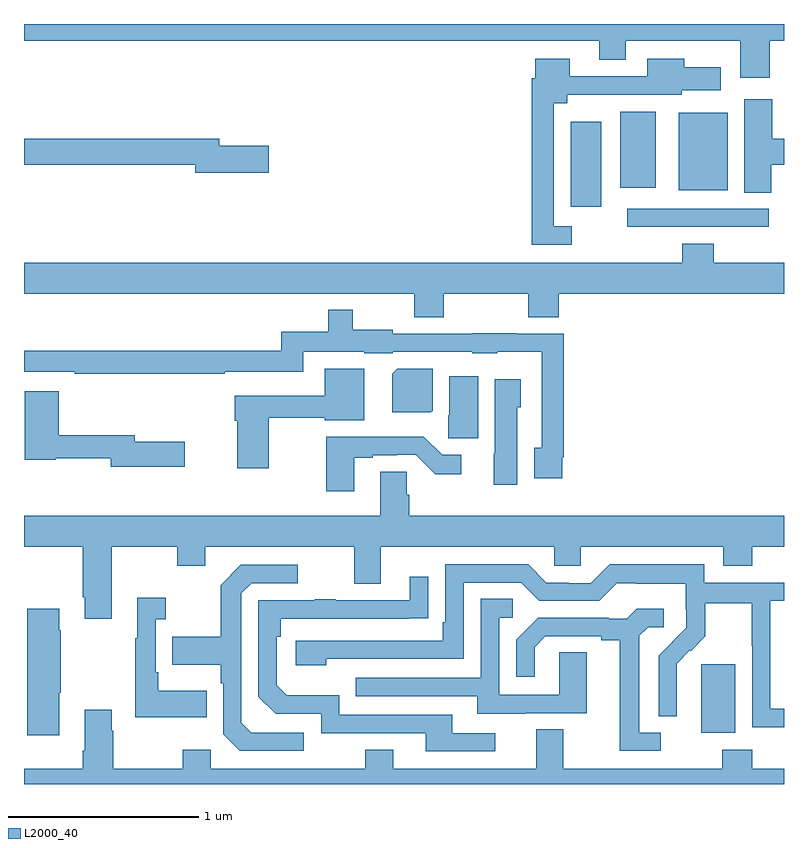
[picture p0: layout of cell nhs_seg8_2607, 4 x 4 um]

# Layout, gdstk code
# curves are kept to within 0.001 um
import gdstk
lib = gdstk.Library(unit=1e-6, precision=1e-09)
def R(c, l, rs):  # rectangles x0, y0, x1, y1
    for r in rs: c.add(gdstk.rectangle(r[:2], r[2:], *l))
def P(c, l, *ps):  # polygons
    for p in ps: c.add(gdstk.Polygon(p, *l))
L2000_40 = (2000, 40)

nhs_seg8_2607 = lib.new_cell('nhs_seg8_2607')
R(nhs_seg8_2607, L2000_40, [(278.564,1134.17,278.743,1134.531), (278.175,1136.832,278.92,1136.928), (277.877,1136.937,278.038,1137.385), (278.447,1137.026,278.704,1137.433), (278.138,1137.038,278.326,1137.439)])
P(nhs_seg8_2607, L2000_40, [(275,1137.812),(278.027,1137.812),(278.027,1137.713),(278.167,1137.713),(278.167,1137.812),(278.771,1137.812),(278.771,1137.618),(278.924,1137.618),(278.924,1137.812),(279,1137.812),(279,1137.9),(275,1137.9)],
  [(277.882,1136.835),(277.788,1136.835),(277.788,1137.482),(277.858,1137.482),(277.858,1137.528),(278.463,1137.528),(278.463,1137.551),(278.668,1137.551),(278.668,1137.673),(278.475,1137.673),(278.475,1137.718),(278.279,1137.718),(278.279,1137.624),(277.873,1137.624),(277.873,1137.718),(277.691,1137.718),(277.691,1137.614),(277.672,1137.614),(277.672,1136.739),(277.882,1136.739)],
  [(278.934,1137.16),(279,1137.16),(279,1137.296),(278.939,1137.296),(278.939,1137.505),(278.792,1137.505),(278.792,1137.013),(278.934,1137.013)],
  [(276.289,1137.26),(276.028,1137.26),(276.028,1137.296),(275,1137.296),(275,1137.16),(275.9,1137.16),(275.9,1137.118),(276.289,1137.118)],
  [(277.209,1136.48),(277.654,1136.48),(277.654,1136.356),(277.814,1136.356),(277.814,1136.48),(279,1136.48),(279,1136.644),(278.63,1136.644),(278.63,1136.743),(278.465,1136.743),(278.465,1136.644),(275,1136.644),(275,1136.48),(277.054,1136.48),(277.054,1136.356),(277.209,1136.356)],
  [(277.834,1135.621),(277.841,1135.621),(277.841,1136.271),(277.591,1136.271),(277.591,1136.273),(277.359,1136.273),(277.359,1136.271),(276.942,1136.271),(276.942,1136.29),(276.73,1136.29),(276.73,1136.395),(276.601,1136.395),(276.601,1136.279),(276.355,1136.279),(276.355,1136.179),(275,1136.179),(275,1136.07),(275.266,1136.07),(275.266,1136.058),(276.056,1136.058),(276.056,1136.07),(276.471,1136.07),(276.471,1136.174),(276.792,1136.174),(276.792,1136.168),(276.942,1136.168),(276.942,1136.175),(277.359,1136.175),(277.359,1136.168),(277.491,1136.168),(277.491,1136.174),(277.725,1136.174),(277.725,1135.67),(277.685,1135.67),(277.685,1135.509),(277.834,1135.509)],
  [(277.15,1135.864),(277.15,1136.086),(276.964,1136.086),(276.938,1136.06),(276.938,1135.856),(277.142,1135.856)],
  [(276.288,1135.828),(276.584,1135.828),(276.584,1135.814),(276.79,1135.814),(276.79,1136.086),(276.584,1136.086),(276.584,1135.944),(276.11,1135.944),(276.11,1135.811),(276.122,1135.811),(276.122,1135.563),(276.288,1135.563)],
  [(277.39,1136.047),(277.238,1136.047),(277.238,1135.842),(277.234,1135.842),(277.234,1135.719),(277.39,1135.719)],
  [(277.597,1135.884),(277.615,1135.884),(277.615,1136.029),(277.478,1136.029),(277.478,1135.638),(277.472,1135.638),(277.472,1135.476),(277.597,1135.476)],
  [(275.845,1135.701),(275.584,1135.701),(275.584,1135.735),(275.183,1135.735),(275.183,1135.966),(275.005,1135.966),(275.005,1135.606),(275.166,1135.606),(275.166,1135.614),(275.456,1135.614),(275.456,1135.571),(275.845,1135.571)],
  [(276.739,1135.617),(276.835,1135.617),(276.835,1135.629),(276.962,1135.629),(276.962,1135.632),(277.062,1135.632),(277.165,1135.53),(277.3,1135.53),(277.3,1135.632),(277.2,1135.632),(277.105,1135.727),(276.592,1135.727),(276.592,1135.44),(276.739,1135.44)],
  [(275.461,1135.148),(275.806,1135.148),(275.806,1135.049),(275.953,1135.049),(275.953,1135.148),(276.737,1135.148),(276.737,1134.954),(276.877,1134.954),(276.877,1135.148),(277.791,1135.148),(277.791,1135.05),(277.929,1135.05),(277.929,1135.148),(278.681,1135.148),(278.681,1135.049),(278.834,1135.049),(278.834,1135.148),(279,1135.148),(279,1135.312),(277.028,1135.312),(277.028,1135.422),(277.014,1135.422),(277.014,1135.544),(276.875,1135.544),(276.875,1135.312),(275,1135.312),(275,1135.148),(275.309,1135.148),(275.309,1134.883),(275.321,1134.883),(275.321,1134.771),(275.461,1134.771)],
  [(279,1134.297),(278.928,1134.297),(278.928,1134.864),(279,1134.864),(279,1134.96),(278.58,1134.96),(278.58,1135.057),(278.083,1135.057),(277.983,1134.957),(277.868,1134.957),(277.868,1134.96),(277.749,1134.96),(277.653,1135.056),(277.218,1135.056),(277.218,1134.751),(277.205,1134.751),(277.205,1134.654),(276.429,1134.654),(276.429,1134.524),(276.59,1134.524),(276.59,1134.558),(277.314,1134.558),(277.314,1134.96),(277.617,1134.96),(277.713,1134.864),(278.028,1134.864),(278.121,1134.957),(278.221,1134.957),(278.221,1134.953),(278.484,1134.953),(278.484,1134.819),(278.486,1134.819),(278.486,1134.722),(278.34,1134.574),(278.34,1134.256),(278.436,1134.256),(278.435,1134.533),(278.505,1134.603),(278.508,1134.6),(278.585,1134.677),(278.585,1134.852),(278.83,1134.852),(278.83,1134.628),(278.832,1134.628),(278.832,1134.199),(279,1134.199)],
  [(276.472,1134.171),(276.195,1134.171),(276.144,1134.222),(276.144,1134.903),(276.198,1134.957),(276.442,1134.957),(276.442,1135.053),(276.141,1135.053),(276.036,1134.947),(276.036,1134.675),(275.779,1134.675),(275.779,1134.527),(276.036,1134.527),(276.036,1134.431),(276.048,1134.431),(276.048,1134.162),(276.135,1134.075),(276.472,1134.075)],
  [(277.48,1134.168),(277.255,1134.168),(277.255,1134.264),(276.66,1134.264),(276.66,1134.367),(276.383,1134.367),(276.33,1134.42),(276.33,1134.674),(276.35,1134.674),(276.35,1134.771),(277.127,1134.772),(277.127,1134.991),(277.031,1134.991),(277.031,1134.867),(276.641,1134.867),(276.641,1134.872),(276.529,1134.872),(276.529,1134.867),(276.234,1134.867),(276.234,1134.36),(276.324,1134.27),(276.564,1134.27),(276.564,1134.168),(277.115,1134.168),(277.115,1134.072),(277.48,1134.072)],
  [(275.963,1134.391),(275.707,1134.391),(275.707,1134.487),(275.694,1134.487),(275.694,1134.767),(275.746,1134.767),(275.746,1134.88),(275.597,1134.88),(275.597,1134.667),(275.586,1134.667),(275.586,1134.251),(275.963,1134.251)],
  [(277.639,1134.273),(277.963,1134.273),(277.963,1134.593),(277.818,1134.593),(277.818,1134.369),(277.5,1134.369),(277.5,1134.774),(277.573,1134.774),(277.573,1134.875),(277.404,1134.875),(277.404,1134.459),(276.745,1134.459),(276.745,1134.363),(277.385,1134.363),(277.385,1134.269),(277.639,1134.269)],
  [(278.35,1134.171),(278.239,1134.171),(278.239,1134.679),(278.286,1134.726),(278.368,1134.726),(278.368,1134.823),(278.224,1134.823),(278.172,1134.771),(278.078,1134.771),(278.078,1134.774),(277.706,1134.774),(277.59,1134.658),(277.59,1134.465),(277.687,1134.465),(277.687,1134.621),(277.744,1134.678),(278.039,1134.678),(278.039,1134.656),(278.135,1134.656),(278.135,1134.075),(278.35,1134.075)],
  [(275.185,1134.379),(275.193,1134.379),(275.193,1134.71),(275.185,1134.71),(275.185,1134.823),(275.018,1134.823),(275.018,1134.156),(275.185,1134.156)],
  [(279,1133.98),(278.834,1133.98),(278.834,1134.079),(278.674,1134.079),(278.674,1133.98),(277.837,1133.98),(277.837,1134.188),(277.697,1134.188),(277.697,1133.98),(276.943,1133.98),(276.943,1134.079),(276.796,1134.079),(276.796,1133.98),(275.982,1133.98),(275.982,1134.079),(275.836,1134.079),(275.836,1133.98),(275.469,1133.98),(275.469,1134.179),(275.461,1134.179),(275.461,1134.292),(275.321,1134.292),(275.321,1134.076),(275.309,1134.076),(275.309,1133.98),(275,1133.98),(275,1133.9),(279,1133.9)])

lib.write_gds('nhs_seg8_2607.gds')
